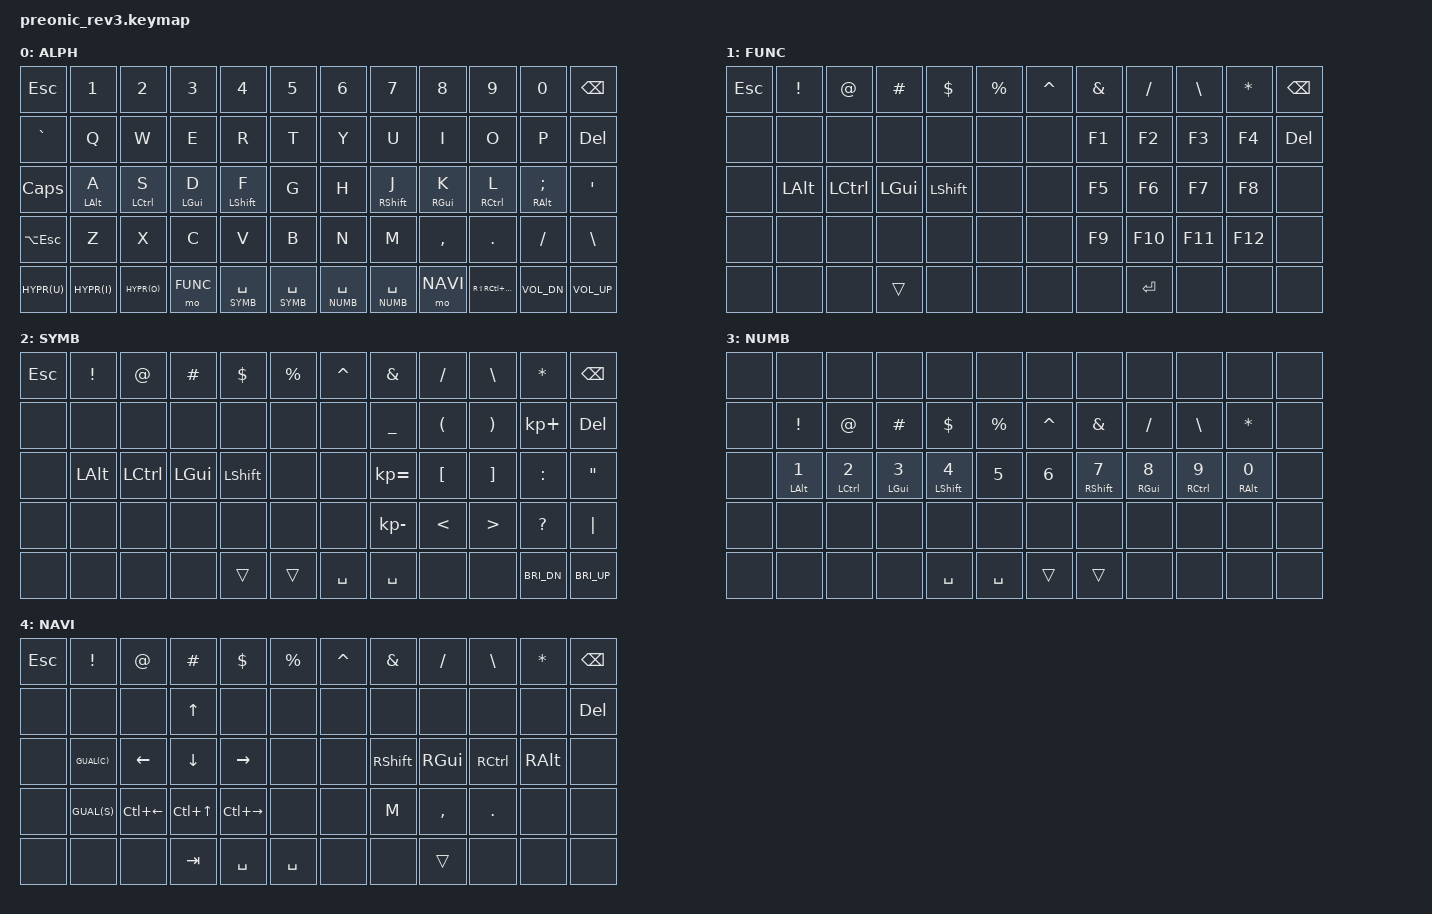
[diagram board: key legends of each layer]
/*
 * Copyright (c) 2022 The ZMK Contributors
 *
 * SPDX-License-Identifier: MIT
 */

#include <behaviors.dtsi>
#include <dt-bindings/zmk/keys.h>
#include <dt-bindings/zmk/bt.h>

#define ALPH 0
#define FUNC 1
#define SYMB 2
#define NUMB 3
#define NAVI 4

#define HYPE RS(RC(RA(RGUI)))
#define HYPR(key) RS(RC(RA(RG(key))))
#define GUAL(key) RG(RA(key))

/ {
    behaviors {
        hm: homerow_mods {
            compatible = "zmk,behavior-hold-tap";
            label = "HOMEROW_MODS";
            #binding-cells = <2>;
            tapping-term-ms = <150>;
            quick-tap-ms = <125>;
            flavor = "tap-preferred";
            bindings = <&kp>, <&kp >;
        };

        pm: pinky_mods {
            compatible = "zmk,behavior-hold-tap";
            label = "PINKY_MODS";
            #binding-cells = <2>;
            tapping-term-ms = <200>;
            quick-tap-ms = <125>;
            flavor = "tap-preferred";
            bindings = <&kp>, <&kp >;
        };
    };

    chosen { zmk,matrix_transform = &layout_grid_transform; };

    keymap {
        compatible = "zmk,keymap";
        ALPH { bindings = <
            &kp ESC       &kp N1        &kp N2         &kp N3       &kp N4           &kp N5           &kp N6           &kp N7           &kp N8       &kp N9        &kp N0          &kp BACKSPACE
            &kp GRAVE     &kp Q         &kp W          &kp E        &kp R            &kp T            &kp Y            &kp U            &kp I        &kp O         &kp P           &kp DELETE
            &kp CAPS      &pm LALT A    &hm LCTRL S    &hm LGUI D   &hm LSHIFT F     &kp G            &kp H            &hm RSHIFT J     &hm RGUI K   &hm RCTRL L   &pm RALT SEMI   &kp SQT
            &kp LA(ESC)   &kp Z         &kp X          &kp C        &kp V            &kp B            &kp N            &kp M            &kp COMMA    &kp DOT       &kp FSLH        &kp BSLH
            &kp HYPR(U)   &kp HYPR(I)   &kp HYPR(O)    &mo FUNC     &lt SYMB SPACE   &lt SYMB SPACE   &lt NUMB SPACE   &lt NUMB SPACE   &mo NAVI     &kp HYPE      &kp C_VOL_DN    &kp C_VOL_UP
            >;
        };
        FUNC { bindings = <
            &kp ESC       &kp EXCL      &kp AT         &kp HASH     &kp DOLLAR       &kp PERCENT      &kp CARET        &kp AMPS         &kp FSLH     &kp BSLH      &kp STAR        &kp BACKSPACE
            &none         &none         &none          &none        &none            &none            &none            &kp F1           &kp F2       &kp F3        &kp F4          &kp DELETE
            &none         &kp LALT      &kp LCTRL      &kp LGUI     &kp LSHIFT       &none            &none            &kp F5           &kp F6       &kp F7        &kp F8          &none
            &none         &none         &none          &none        &none            &none            &none            &kp F9           &kp F10      &kp F11       &kp F12         &none
            &none         &none         &none          &trans       &none            &none            &none            &none            &kp RET      &none         &none           &none
            >;
        };
        SYMB { bindings = <
            &kp ESC       &kp EXCL      &kp AT         &kp HASH     &kp DOLLAR       &kp PERCENT      &kp CARET        &kp AMPS         &kp FSLH     &kp BSLH      &kp STAR        &kp BACKSPACE
            &none         &none         &none          &none        &none            &none            &none            &kp UNDER        &kp LPAR     &kp RPAR      &kp KP_PLUS     &kp DELETE
            &none         &kp LALT      &kp LCTRL      &kp LGUI     &kp LSHIFT       &none            &none            &kp KP_EQUAL     &kp LBKT     &kp RBKT      &kp COLON       &kp DQT
            &none         &none         &none          &none        &none            &none            &none            &kp KP_MINUS     &kp LT       &kp GT        &kp QMARK       &kp PIPE
            &none         &none         &none          &none        &trans           &trans           &kp SPACE        &kp SPACE        &none        &none         &kp C_BRI_DN    &kp C_BRI_UP
            >;
        };
        NUMB { bindings = <
            &none         &none         &none          &none        &none            &none            &none            &none            &none        &none         &none           &none
            &none         &kp EXCL      &kp AT         &kp HASH     &kp DOLLAR       &kp PERCENT      &kp CARET        &kp AMPS         &kp FSLH     &kp BSLH      &kp STAR        &none
            &none         &pm LALT N1   &hm LCTRL N2   &hm LGUI N3  &hm LSHIFT N4    &kp N5           &kp N6           &hm RSHIFT N7    &hm RGUI N8  &hm RCTRL N9  &pm RALT N0     &none
            &none         &none         &none          &none        &none            &none            &none            &none            &none        &none         &none           &none
            &none         &none         &none          &none        &kp SPACE        &kp SPACE        &trans           &trans           &none        &none         &none           &none
            >;
        };
        NAVI { bindings = <
            &kp ESC       &kp EXCL      &kp AT         &kp HASH     &kp DOLLAR       &kp PERCENT      &kp CARET        &kp AMPS         &kp FSLH     &kp BSLH      &kp STAR        &kp BACKSPACE
            &none         &none         &none          &kp UP       &none            &none            &none            &none            &none        &none         &none           &kp DELETE
            &none         &kp GUAL(C)   &kp LEFT       &kp DOWN     &kp RIGHT        &none            &none            &kp RSHIFT       &kp RGUI     &kp RCTRL     &kp RALT        &none
            &none         &kp GUAL(S)   &kp LC(LEFT)   &kp LC(UP)   &kp LC(RIGHT)    &none            &none            &kp M            &kp COMMA    &kp DOT       &none           &none
            &none         &none         &none          &kp TAB      &kp SPACE        &kp SPACE        &none            &none            &trans       &none         &none           &none
            >;
        };
    };
};
